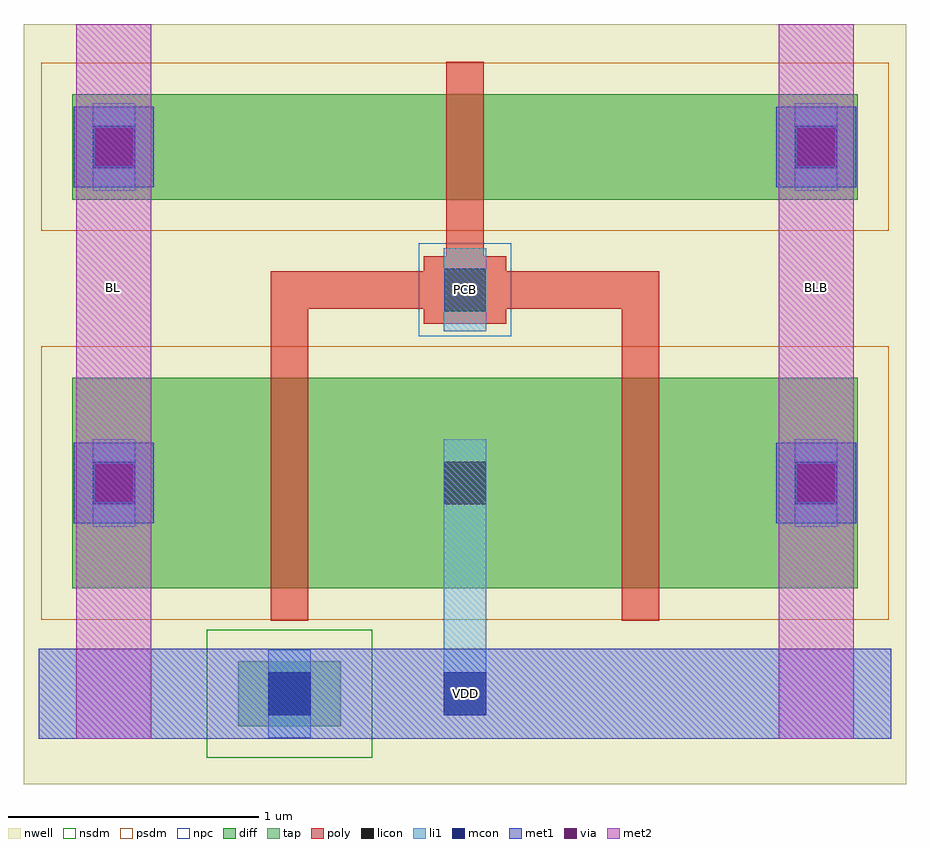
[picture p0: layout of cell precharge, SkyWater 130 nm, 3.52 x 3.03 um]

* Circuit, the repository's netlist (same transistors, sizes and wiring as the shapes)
.subckt precharge bl blb pcb vdd
XXP1 bl pcb vdd vdd sky130_fd_pr__pfet_01v8 L=0.15 W=0.84 nf=1 m=1
XXP2 blb pcb vdd vdd sky130_fd_pr__pfet_01v8 L=0.15 W=0.84 nf=1 m=1
XXP3 bl pcb blb vdd sky130_fd_pr__pfet_01v8 L=0.15 W=0.42 nf=1 m=1
.ends

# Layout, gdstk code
import gdstk
lib = gdstk.Library(unit=1e-6, precision=1e-09)
def R(c, l, rs):  # rectangles x0, y0, x1, y1
    for r in rs: c.add(gdstk.rectangle(r[:2], r[2:], *l))
def A(c, l, x, y, w, h, nx, ny, dx, dy):  # array of equal rectangles
    R(c, l, [(x+i*dx, y+j*dy, x+i*dx+w, y+j*dy+h) for i in range(nx) for j in range(ny)])
nwell = (64, 20)
diff = (65, 20)
tap = (65, 44)
poly = (66, 20)
licon = (66, 44)
li1 = (67, 20)
mcon = (67, 44)
met1 = (68, 20)
via = (68, 44)
met2 = (69, 20)
nsdm = (93, 44)
psdm = (94, 20)
npc = (95, 20)

precharge = lib.new_cell('precharge')
R(precharge, nwell, [(-0.36,-0.18,3.16,2.85)])
R(precharge, diff, [(-0.165,0.6,2.965,1.44), (-0.165,2.15,2.965,2.57)])
R(precharge, tap, [(0.495,0.05,0.905,0.31)])
R(precharge, poly, [(0.625,0.47,0.775,1.715), (2.025,0.47,2.175,1.715), (1.235,1.655,1.565,1.715), (0.625,1.715,2.175,1.865), (1.235,1.865,1.565,1.925), (1.325,1.925,1.475,2.7)])
A(precharge, licon, -0.085, 0.935, 0.17, 0.17, 3, 1, 1.4, 0)
R(precharge, licon, [(0.615,0.095,0.785,0.265), (1.315,1.705,1.485,1.875), (-0.085,2.275,0.085,2.445), (2.715,2.275,2.885,2.445)])
R(precharge, li1, [(0.615,0.005,0.785,0.355), (1.315,0.095,1.485,1.195), (-0.085,0.845,0.085,1.195), (2.715,0.845,2.885,1.195), (1.315,1.625,1.485,1.955), (-0.085,2.185,0.085,2.535), (2.715,2.185,2.885,2.535)])
R(precharge, mcon, [(0.615,0.095,0.785,0.265), (1.315,0.095,1.485,0.265), (-0.085,0.935,0.085,1.105), (2.715,0.935,2.885,1.105), (-0.085,2.275,0.085,2.445), (2.715,2.275,2.885,2.445)])
R(precharge, met1, [(-0.3,0,3.1,0.36), (-0.16,0.86,0.16,1.18), (2.64,0.86,2.96,1.18), (-0.16,2.2,0.16,2.52), (2.64,2.2,2.96,2.52)])
R(precharge, via, [(-0.075,0.945,0.075,1.095), (2.725,0.945,2.875,1.095), (-0.075,2.285,0.075,2.435), (2.725,2.285,2.875,2.435)])
R(precharge, met2, [(-0.15,0,0.15,2.85), (2.65,0,2.95,2.85)])
R(precharge, nsdm, [(0.37,-0.075,1.03,0.435)])
R(precharge, psdm, [(-0.29,0.475,3.09,1.565), (-0.29,2.025,3.09,2.695)])
R(precharge, npc, [(1.215,1.605,1.585,1.975)])
precharge.add(gdstk.Label('PCB', (1.4,1.79), layer=67, texttype=5))
precharge.add(gdstk.Label('VDD', (1.4,0.18), layer=68, texttype=5))
precharge.add(gdstk.Label('BL', (0,1.8), layer=69, texttype=5))
precharge.add(gdstk.Label('BLB', (2.8,1.8), layer=69, texttype=5))

lib.write_gds('precharge.gds')
